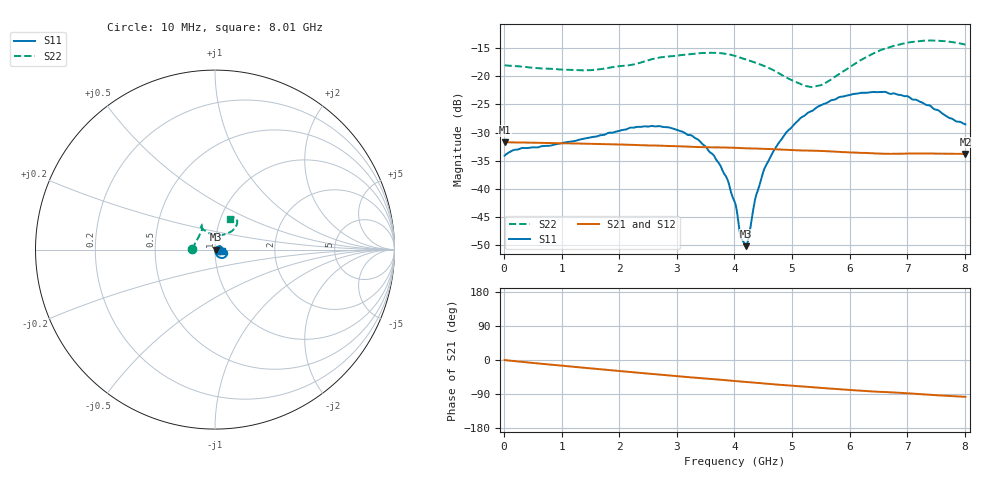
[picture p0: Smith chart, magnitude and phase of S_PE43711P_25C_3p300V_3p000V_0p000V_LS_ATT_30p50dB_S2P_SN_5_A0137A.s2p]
! Device ID: PE43711P
! File Path: z:\PE43711P\CHAR_NOM_04282014\AMB\3p300\LS_ATT_30p50dB\PE43711P_AMB_3p300V_3p000V_0p000V_LS_ATT_30p50dB_S2P_SN_5_A0137A.s2p
! Serial: 5
! Lot: A0137A
! Temp: 25C
! VDD: 3.300
! VSS: 0.000
! Control_Hi: 3.000
! Control_Lo: 0.000
! Attenuation Step: 30.50dB
! Port 1: RF1
! Port 2: RF2
! ThroughPath:1-2
! IDD: 0.0001278376
! ISS: -9.47e-008
#  Hz  S  RI  R  50
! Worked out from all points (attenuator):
!   801 points, 10 MHz to 8.01 GHz, reference 50 ohm
!   highest |S21| = -31.75 dB at 20 MHz (marker M1); lowest = -33.8 dB at 8.01 GHz (marker M2)
!   lowest |S11| = -50.3 dB at 4.2 GHz (marker M3), VSWR 1.01, Z = 50.3 - j0.125 ohm
!   |S11| at or under -10 dB: start of sweep to end of sweep
!   |S22| runs from -21.9 to -13.6 dB; largest |S21 - S12| = 9.4e-05
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1e7  0.0196 0.000552  0.0258 -9.04e-05  0.0258 -0.000107  -0.126 0.000978
2e7  0.0199 0.00075  0.0258 -0.000145  0.0258 -0.000144  -0.1257 0.00154
3.1e8  0.0227 0.00313  0.0257 -0.00218  0.0257 -0.00217  -0.1218 0.012
1.35e9  0.0266 0.00715  0.0237 -0.00859  0.0237 -0.00857  -0.0988 0.0558
2.2e9  0.0326 0.0125  0.0208 -0.013  0.0209 -0.013  -0.0763 0.101
2.68e9  0.0319 0.0167  0.019 -0.0149  0.019 -0.0149  -0.0731 0.1275
3.25e9  0.0235 0.0184  0.0164 -0.0169  0.0164 -0.0169  -0.0745 0.1396
3.49e9  0.0173 0.0166  0.0154 -0.0176  0.0154 -0.0176  -0.078 0.1422
3.76e9  0.0102 0.0122  0.0143 -0.0183  0.0143 -0.0184  -0.0816 0.1391
3.88e9  0.0075 0.00937  0.0138 -0.0187  0.0137 -0.0187  -0.0821 0.1351
4.01e9  0.00518 0.00538  0.0131 -0.019  0.0131 -0.019  -0.0812 0.1292
4.12e9  0.00339 0.00116  0.0125 -0.0193  0.0125 -0.0193  -0.0778 0.1235
4.2e9  0.0028 -0.00124  0.0121 -0.0194  0.0122 -0.0194  -0.0747 0.1203
4.25e9  0.00221 -0.00304  0.0119 -0.0195  0.0119 -0.0195  -0.0725 0.1186
4.38e9  0.00169 -0.00866  0.0113 -0.0197  0.0113 -0.0197  -0.0669 0.1137
4.55e9  0.00275 -0.0159  0.0105 -0.02  0.0105 -0.02  -0.0585 0.107
4.9e9  0.0087 -0.0305  0.00879 -0.0204  0.00877 -0.0204  -0.0345 0.0915
5.35e9  0.0242 -0.043  0.00682 -0.0207  0.00681 -0.0207  0.00782 0.0799
5.85e9  0.0478 -0.0455  0.00455 -0.0207  0.00454 -0.0207  0.0623 0.0879
6.68e9  0.0672 -0.0214  0.00175 -0.0203  0.00181 -0.0204  0.1202 0.1365
7.34e9  0.0554 -0.00452  -0.000441 -0.0206  -0.000402 -0.0206  0.1166 0.1735
8.01e9  0.0368 -0.00648  -0.00255 -0.0202  -0.00259 -0.0202  0.0849 0.1724
